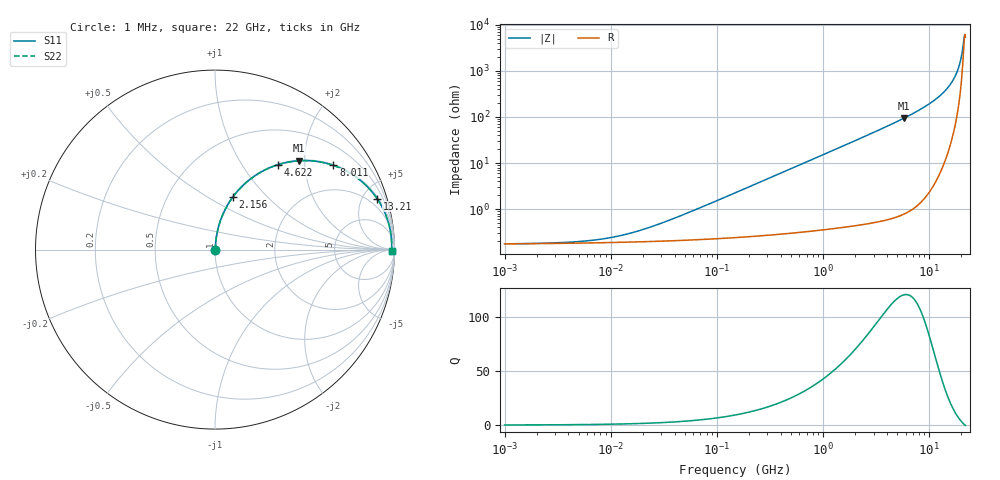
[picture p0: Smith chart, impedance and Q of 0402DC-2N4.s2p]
# MHz  S  MA  R  50
!Freq  MagS11  AngS11  MagS21  AngS21  MagS12  AngS12  MagS22  AngS22
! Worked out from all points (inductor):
!   801 points, 1 MHz to 22 GHz, reference 50 ohm
!   read as one part in series: L = 2.4 nH near 41.49 MHz
!   highest Q = 121 at 5.788 GHz (marker M1), where L = 2.58 nH
!   self-resonance near 21.78 GHz
!   S11 on the Smith chart (normalised r, x): 1 MHz: 1.00, +0.00; 2.156 GHz: 1.01, +0.66; 4.622 GHz: 1.01, +1.46; 8.011 GHz: 1.03, +2.79; 13.21 GHz: 1.15, +6.30; 22 GHz: open
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1  0.001761 4.9  0.9982 -0.0  0.9982 -0.0  0.001761 4.9
5.339889  0.001999 23.7  0.9982 -0.0  0.9982 -0.0  0.001999 23.7
12.18622  0.00264 43.9  0.9981 -0.1  0.9981 -0.1  0.00264 43.9
28.16016  0.004688 64.5  0.998 -0.2  0.998 -0.2  0.004688 64.5
148.504  0.02246 82.6  0.9974 -1.3  0.9974 -1.3  0.02246 82.6
384.0328  0.05774 83.9  0.9955 -3.3  0.9955 -3.3  0.05774 83.9
792.9948  0.1185 81.6  0.9897 -6.8  0.9897 -6.8  0.1185 81.6
1409.354  0.208 77.0  0.9743 -12.0  0.9743 -12.0  0.208 77.0
2155.847  0.3107 71.1  0.9463 -18.1  0.9463 -18.1  0.3107 71.1
3021.414  0.4196 64.6  0.9031 -24.8  0.9031 -24.8  0.4196 64.6
4181.896  0.5455 56.4  0.8331 -33.1  0.8331 -33.1  0.5455 56.4
4621.766  0.5871 53.5  0.8044 -36.0  0.8044 -36.0  0.5871 53.5
5788.102  0.6818 46.5  0.7259 -43.0  0.7259 -43.0  0.6818 46.5
8011.229  0.8098 35.4  0.5794 -54.1  0.5794 -54.1  0.8098 35.4
10547.38  0.8965 25.5  0.4313 -63.7  0.4313 -63.7  0.8965 25.5
13209.09  0.9467 17.5  0.3003 -71.2  0.3003 -71.2  0.9467 17.5
15933.57  0.9728 10.8  0.1882 -76.3  0.1882 -76.3  0.9728 10.8
18055.38  0.9822 6.5  0.1133 -77.7  0.1133 -77.7  0.9822 6.5
19461.79  0.9847 3.9  0.0688 -75.2  0.0688 -75.2  0.9847 3.9
19954.52  0.985 3.0  0.05427 -72.4  0.05427 -72.4  0.985 3.0
20977.74  0.9848 1.3  0.02703 -55.2  0.02703 -55.2  0.9848 1.3
22000  0.9837 -0.3  0.01729 19.7  0.01729 19.7  0.9837 -0.3
